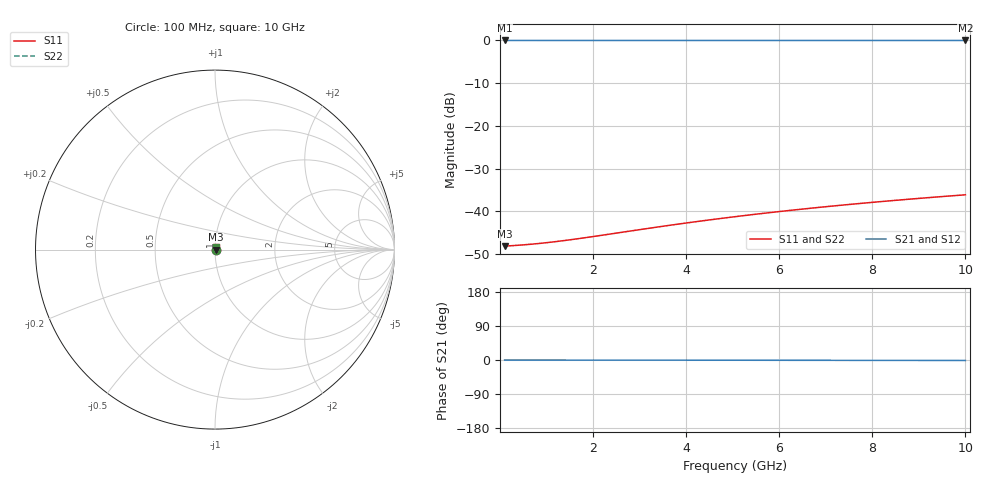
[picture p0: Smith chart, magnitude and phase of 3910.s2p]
# Hz S RI R 50.00
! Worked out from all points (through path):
!   100 points, 100 MHz to 10 GHz, reference 50 ohm
!   highest |S21| = -0.03 dB at 100 MHz (marker M1); lowest = 0.0 dB at 10 GHz (marker M2)
!   lowest |S11| = -48.2 dB at 100 MHz (marker M3), VSWR 1.01, Z = 50.4 + j0.015 ohm
!   |S11| at or under -10 dB: start of sweep to end of sweep
!   |S22| runs from -48.2 to -36.1 dB; largest |S21 - S12| = 1e-14
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1e8  0.0039 0.000149  0.9961 -0.000212  0.9961 -0.000212  0.0039 0.000149
5e8  0.00398 0.000746  0.996 -0.00106  0.996 -0.00106  0.00398 0.000746
7e8  0.004 0.00104  0.996 -0.00148  0.996 -0.00148  0.004 0.00104
9e8  0.00402 0.00134  0.996 -0.00191  0.996 -0.00191  0.00402 0.00134
1.1e9  0.00403 0.00164  0.996 -0.00233  0.996 -0.00233  0.00403 0.00164
1.3e9  0.00405 0.00194  0.996 -0.00275  0.996 -0.00275  0.00405 0.00194
1.5e9  0.00406 0.00224  0.9959 -0.00318  0.9959 -0.00318  0.00406 0.00224
1.8e9  0.00408 0.00268  0.9959 -0.00381  0.9959 -0.00381  0.00408 0.00268
3.4e9  0.00416 0.00507  0.9958 -0.0072  0.9958 -0.0072  0.00416 0.00507
3.9e9  0.00419 0.00581  0.9958 -0.00826  0.9958 -0.00826  0.00419 0.00581
4.3e9  0.00421 0.00641  0.9958 -0.00911  0.9958 -0.00911  0.00421 0.00641
4.7e9  0.00423 0.00701  0.9958 -0.00996  0.9958 -0.00996  0.00423 0.00701
5.1e9  0.00425 0.0076  0.9957 -0.0108  0.9957 -0.0108  0.00425 0.0076
5.5e9  0.00427 0.0082  0.9957 -0.0117  0.9957 -0.0117  0.00427 0.0082
5.9e9  0.00429 0.00879  0.9957 -0.0125  0.9957 -0.0125  0.00429 0.00879
6.3e9  0.00432 0.00939  0.9957 -0.0133  0.9957 -0.0133  0.00432 0.00939
6.7e9  0.00434 0.00999  0.9956 -0.0142  0.9956 -0.0142  0.00434 0.00999
7.5e9  0.00439 0.0112  0.9956 -0.0159  0.9956 -0.0159  0.00439 0.0112
7.9e9  0.00442 0.0118  0.9956 -0.0167  0.9956 -0.0167  0.00442 0.0118
8.4e9  0.00445 0.0125  0.9955 -0.0178  0.9955 -0.0178  0.00445 0.0125
9.2e9  0.00451 0.0137  0.9955 -0.0195  0.9955 -0.0195  0.00451 0.0137
1e10  0.00457 0.0149  0.9954 -0.0212  0.9954 -0.0212  0.00457 0.0149
